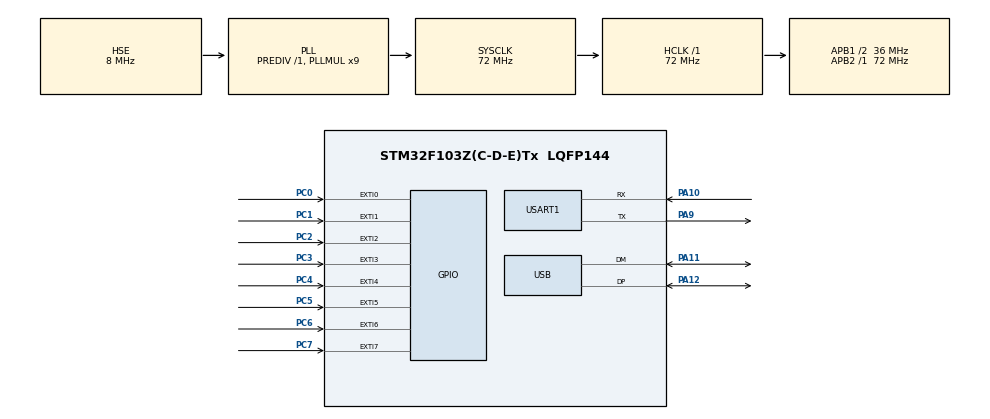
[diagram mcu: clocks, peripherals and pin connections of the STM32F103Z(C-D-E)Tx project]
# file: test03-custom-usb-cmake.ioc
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Mcu.Family=STM32F1
Mcu.Name=STM32F103Z(C-D-E)Tx
Mcu.Package=LQFP144
NVIC.EXTI0_IRQn=true\:0\:0\:false\:false\:true\:true\:true
NVIC.EXTI1_IRQn=true\:0\:0\:false\:false\:true\:true\:true
NVIC.EXTI2_IRQn=true\:0\:0\:false\:false\:true\:true\:true
NVIC.EXTI3_IRQn=true\:0\:0\:false\:false\:true\:true\:true
NVIC.EXTI4_IRQn=true\:0\:0\:false\:false\:true\:true\:true
NVIC.EXTI9_5_IRQn=true\:0\:0\:false\:false\:true\:true\:true
NVIC.PriorityGroup=NVIC_PRIORITYGROUP_4
NVIC.USB_LP_CAN1_RX0_IRQn=true\:0\:0\:false\:false\:true\:false\:true
OSC_IN.Mode=HSE-External-Oscillator
OSC_IN.Signal=RCC_OSC_IN
OSC_OUT.Mode=HSE-External-Oscillator
OSC_OUT.Signal=RCC_OSC_OUT
PA10.Mode=Asynchronous
PA10.Signal=USART1_RX
PA11.Mode=Device
PA11.Signal=USB_DM
PA12.Mode=Device
PA12.Signal=USB_DP
PA13.Mode=Serial_Wire
PA13.Signal=SYS_JTMS-SWDIO
PA14.Mode=Serial_Wire
PA14.Signal=SYS_JTCK-SWCLK
PA9.Mode=Asynchronous
PA9.Signal=USART1_TX
PC0.GPIO_PuPd=GPIO_PULLUP
PC0.Signal=GPXTI0
PC1.GPIO_PuPd=GPIO_PULLUP
PC1.Signal=GPXTI1
PC14-OSC32_IN.Mode=LSE-External-Oscillator
PC14-OSC32_IN.Signal=RCC_OSC32_IN
PC15-OSC32_OUT.Mode=LSE-External-Oscillator
PC15-OSC32_OUT.Signal=RCC_OSC32_OUT
PC2.GPIO_PuPd=GPIO_PULLUP
PC2.Signal=GPXTI2
PC3.GPIO_PuPd=GPIO_PULLUP
PC3.Signal=GPXTI3
PC4.GPIO_PuPd=GPIO_PULLUP
PC4.Signal=GPXTI4
PC5.GPIO_PuPd=GPIO_PULLUP
PC5.Signal=GPXTI5
PC6.GPIO_PuPd=GPIO_PULLUP
PC6.Signal=GPXTI6
PC7.GPIO_PuPd=GPIO_PULLUP
PC7.Signal=GPXTI7
ProjectManager.HeapSize=0x200
ProjectManager.StackSize=0x400
ProjectManager.TargetToolchain=STM32CubeIDE
RCC.AHBFreq_Value=72000000
RCC.APB1CLKDivider=RCC_HCLK_DIV2
RCC.APB1Freq_Value=36000000
RCC.APB1TimFreq_Value=72000000
RCC.APB2Freq_Value=72000000
RCC.APB2TimFreq_Value=72000000
RCC.HCLKFreq_Value=72000000
RCC.PLLMUL=RCC_PLL_MUL9
RCC.SYSCLKFreq_VALUE=72000000
RCC.SYSCLKSource=RCC_SYSCLKSOURCE_PLLCLK
RCC.USBFreq_Value=48000000
RCC.USBPrescaler=RCC_USBCLKSOURCE_PLL_DIV1_5
USART1.VirtualMode=VM_ASYNC
USB_DEVICE.CLASS_NAME_FS=CUSTOM_HID
USB_DEVICE.PRODUCT_STRING_CUSTOMHID_FS=Ryan's custom HID
USB_DEVICE.VirtualMode=CustomHid
USB_DEVICE.VirtualModeFS=Custom_Hid_FS
VP_USB_DEVICE_VS_USB_DEVICE_CUSTOM_HID_FS.Mode=CUSTOM_HID_FS
board=custom

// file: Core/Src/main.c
/* USER CODE BEGIN Header */
/**
  ******************************************************************************
  * @file           : main.c
  * @brief          : Main program body
  ******************************************************************************
  * @attention
  *
  * <h2><center>&copy; Copyright (c) 2021 STMicroelectronics.
  * All rights reserved.</center></h2>
  *
  * This software component is licensed by ST under Ultimate Liberty license
  * SLA0044, the "License"; You may not use this file except in compliance with
  * the License. You may obtain a copy of the License at:
  *                             www.st.com/SLA0044
  *
  ******************************************************************************
  */
/* USER CODE END Header */
#include "main.h"
#include "usart.h"
#include "usb_device.h"
#include "gpio.h"

/* USER CODE BEGIN Includes */
#include "usbd_custom_hid_if.h"
#include <stdarg.h>
/* USER CODE END Includes */

void SystemClock_Config(void);

/* USER CODE BEGIN 0 */

#define TX_BUF_LEN  256     /* 发送缓冲区容量，根据需要进行调整 */
uint8_t TxBuf[TX_BUF_LEN];  /* 发送缓冲区                       */

void MyPrintf(const char *__format, ...)
{
    va_list ap;
    va_start(ap, __format);
    /* 清空发送缓冲区 */
    memset(TxBuf, 0x0, TX_BUF_LEN);
    /* 填充发送缓冲区 */
    vsnprintf((char*)TxBuf, TX_BUF_LEN, (const char *)__format, ap);
    va_end(ap);
    int len = strlen((const char*)TxBuf);
    /* 往串口发送数据 */
    HAL_UART_Transmit(&huart1, (uint8_t*)&TxBuf, len, 0xFFFF);
}
/* USER CODE END 0 */

int main(void)
{
  /* USER CODE BEGIN 1 */
    uint8_t i;
    uint8_t hid_test[64];
    for(i = 0; i < 64; i++)
    {
        hid_test[i] = 63 - i;
    }
  /* USER CODE END 1 */

  /* MCU Configuration--------------------------------------------------------*/

  /* Reset of all peripherals, Initializes the Flash interface and the Systick. */
  HAL_Init();

  /* Configure the system clock */
  SystemClock_Config();

  /* Initialize all configured peripherals */
  MX_GPIO_Init();
  MX_USART1_UART_Init();
  MX_USB_DEVICE_Init();

  /* Infinite loop */
  /* USER CODE BEGIN WHILE */
  while (1)
  {
//        HAL_Delay(1000);
//        USBD_CUSTOM_HID_SendReport_FS(hid_test, 64);
    /* USER CODE END WHILE */

  }
}

void SystemClock_Config(void)
{
  RCC_OscInitTypeDef RCC_OscInitStruct = {0};
  RCC_ClkInitTypeDef RCC_ClkInitStruct = {0};
  RCC_PeriphCLKInitTypeDef PeriphClkInit = {0};

  /** Initializes the RCC Oscillators according to the specified parameters
  * in the RCC_OscInitTypeDef structure.
  */
  RCC_OscInitStruct.OscillatorType = RCC_OSCILLATORTYPE_HSE;
  RCC_OscInitStruct.HSEState = RCC_HSE_ON;
  RCC_OscInitStruct.HSEPredivValue = RCC_HSE_PREDIV_DIV1;
  RCC_OscInitStruct.HSIState = RCC_HSI_ON;
  RCC_OscInitStruct.PLL.PLLState = RCC_PLL_ON;
  RCC_OscInitStruct.PLL.PLLSource = RCC_PLLSOURCE_HSE;
  RCC_OscInitStruct.PLL.PLLMUL = RCC_PLL_MUL9;
  if (HAL_RCC_OscConfig(&RCC_OscInitStruct) != HAL_OK)
  {
    Error_Handler();
  }
  /** Initializes the CPU, AHB and APB buses clocks
  */
  RCC_ClkInitStruct.ClockType = RCC_CLOCKTYPE_HCLK|RCC_CLOCKTYPE_SYSCLK
                              |RCC_CLOCKTYPE_PCLK1|RCC_CLOCKTYPE_PCLK2;
  RCC_ClkInitStruct.SYSCLKSource = RCC_SYSCLKSOURCE_PLLCLK;
  RCC_ClkInitStruct.AHBCLKDivider = RCC_SYSCLK_DIV1;
  RCC_ClkInitStruct.APB1CLKDivider = RCC_HCLK_DIV2;
  RCC_ClkInitStruct.APB2CLKDivider = RCC_HCLK_DIV1;

  if (HAL_RCC_ClockConfig(&RCC_ClkInitStruct, FLASH_LATENCY_2) != HAL_OK)
  {
    Error_Handler();
  }
  PeriphClkInit.PeriphClockSelection = RCC_PERIPHCLK_USB;
  PeriphClkInit.UsbClockSelection = RCC_USBCLKSOURCE_PLL_DIV1_5;
  if (HAL_RCCEx_PeriphCLKConfig(&PeriphClkInit) != HAL_OK)
  {
    Error_Handler();
  }
}

void Error_Handler(void)
{
  __disable_irq();
  while (1)
  {
  }
}

/************************ (C) COPYRIGHT STMicroelectronics *****END OF FILE****/
